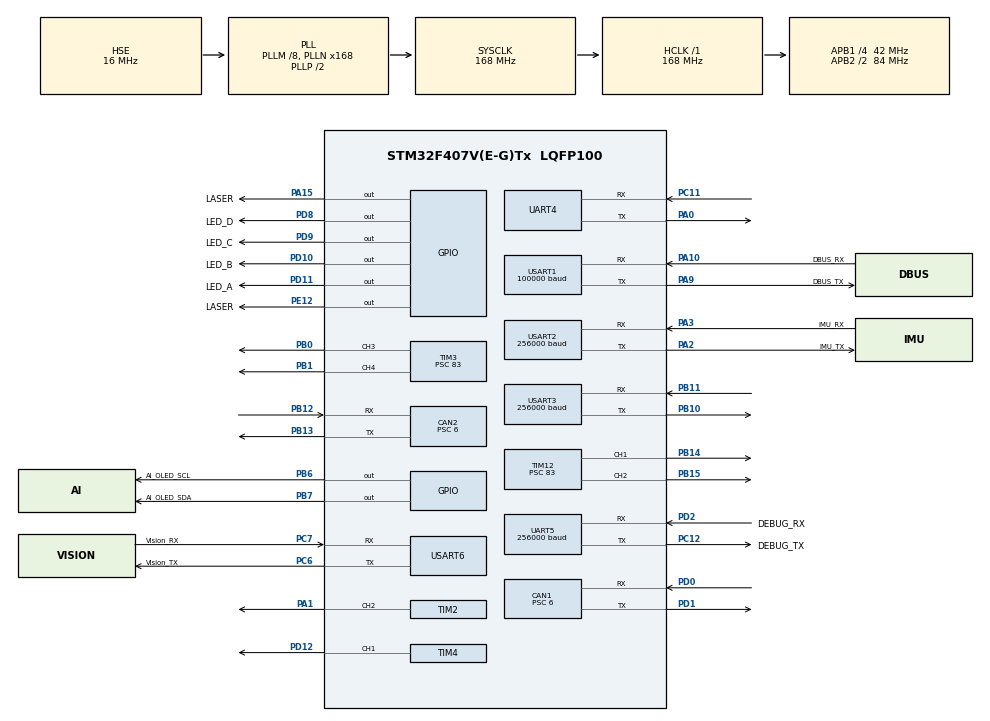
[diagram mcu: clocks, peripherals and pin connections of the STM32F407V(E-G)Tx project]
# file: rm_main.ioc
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CAN1.ABOM=ENABLE
CAN1.BS1=CAN_BS1_3TQ
CAN1.BS2=CAN_BS2_3TQ
CAN1.CalculateTimeQuantum=142.85714285714286
CAN1.Prescaler=6
CAN2.ABOM=ENABLE
CAN2.BS1=CAN_BS1_3TQ
CAN2.BS2=CAN_BS2_3TQ
CAN2.CalculateTimeQuantum=142.85714285714286
CAN2.Prescaler=6
Dma.Request0=USART2_RX
Dma.Request1=USART3_RX
Dma.Request10=USART6_TX
Dma.Request11=USART1_TX
Dma.Request2=USART3_TX
Dma.Request3=USART1_RX
Dma.Request4=USART6_RX
Dma.Request5=UART5_RX
Dma.Request6=UART5_TX
Dma.Request7=USART2_TX
Dma.Request8=UART4_RX
Dma.Request9=UART4_TX
Dma.UART4_RX.8.Direction=DMA_PERIPH_TO_MEMORY
Dma.UART4_RX.8.FIFOMode=DMA_FIFOMODE_DISABLE
Dma.UART4_RX.8.Instance=DMA1_Stream2
Dma.UART4_RX.8.MemDataAlignment=DMA_MDATAALIGN_BYTE
Dma.UART4_RX.8.MemInc=DMA_MINC_ENABLE
Dma.UART4_RX.8.Mode=DMA_NORMAL
Dma.UART4_RX.8.PeriphDataAlignment=DMA_PDATAALIGN_BYTE
Dma.UART4_RX.8.PeriphInc=DMA_PINC_DISABLE
Dma.UART4_RX.8.Priority=DMA_PRIORITY_LOW
Dma.UART4_TX.9.Direction=DMA_MEMORY_TO_PERIPH
Dma.UART4_TX.9.FIFOMode=DMA_FIFOMODE_DISABLE
Dma.UART4_TX.9.Instance=DMA1_Stream4
Dma.UART4_TX.9.MemDataAlignment=DMA_MDATAALIGN_BYTE
Dma.UART4_TX.9.MemInc=DMA_MINC_ENABLE
Dma.UART4_TX.9.Mode=DMA_NORMAL
Dma.UART4_TX.9.PeriphDataAlignment=DMA_PDATAALIGN_BYTE
Dma.UART4_TX.9.PeriphInc=DMA_PINC_DISABLE
Dma.UART4_TX.9.Priority=DMA_PRIORITY_LOW
Dma.UART5_RX.5.Direction=DMA_PERIPH_TO_MEMORY
Dma.UART5_RX.5.FIFOMode=DMA_FIFOMODE_DISABLE
Dma.UART5_RX.5.Instance=DMA1_Stream0
Dma.UART5_RX.5.MemDataAlignment=DMA_MDATAALIGN_BYTE
Dma.UART5_RX.5.MemInc=DMA_MINC_ENABLE
Dma.UART5_RX.5.Mode=DMA_NORMAL
Dma.UART5_RX.5.PeriphDataAlignment=DMA_PDATAALIGN_BYTE
Dma.UART5_RX.5.PeriphInc=DMA_PINC_DISABLE
Dma.UART5_RX.5.Priority=DMA_PRIORITY_LOW
Dma.UART5_TX.6.Direction=DMA_MEMORY_TO_PERIPH
Dma.UART5_TX.6.FIFOMode=DMA_FIFOMODE_DISABLE
Dma.UART5_TX.6.Instance=DMA1_Stream7
Dma.UART5_TX.6.MemDataAlignment=DMA_MDATAALIGN_BYTE
Dma.UART5_TX.6.MemInc=DMA_MINC_ENABLE
Dma.UART5_TX.6.Mode=DMA_NORMAL
Dma.UART5_TX.6.PeriphDataAlignment=DMA_PDATAALIGN_BYTE
Dma.UART5_TX.6.PeriphInc=DMA_PINC_DISABLE
Dma.UART5_TX.6.Priority=DMA_PRIORITY_LOW
Dma.USART1_RX.3.Direction=DMA_PERIPH_TO_MEMORY
Dma.USART1_RX.3.FIFOMode=DMA_FIFOMODE_DISABLE
Dma.USART1_RX.3.Instance=DMA2_Stream2
Dma.USART1_RX.3.MemDataAlignment=DMA_MDATAALIGN_BYTE
Dma.USART1_RX.3.MemInc=DMA_MINC_ENABLE
Dma.USART1_RX.3.Mode=DMA_NORMAL
Dma.USART1_RX.3.PeriphDataAlignment=DMA_PDATAALIGN_BYTE
Dma.USART1_RX.3.PeriphInc=DMA_PINC_DISABLE
Dma.USART1_RX.3.Priority=DMA_PRIORITY_LOW
Dma.USART1_TX.11.Direction=DMA_MEMORY_TO_PERIPH
Dma.USART1_TX.11.FIFOMode=DMA_FIFOMODE_DISABLE
Dma.USART1_TX.11.Instance=DMA2_Stream7
Dma.USART1_TX.11.MemDataAlignment=DMA_MDATAALIGN_BYTE
Dma.USART1_TX.11.MemInc=DMA_MINC_ENABLE
Dma.USART1_TX.11.Mode=DMA_NORMAL
Dma.USART1_TX.11.PeriphDataAlignment=DMA_PDATAALIGN_BYTE
Dma.USART1_TX.11.PeriphInc=DMA_PINC_DISABLE
Dma.USART1_TX.11.Priority=DMA_PRIORITY_LOW
Dma.USART2_RX.0.Direction=DMA_PERIPH_TO_MEMORY
Dma.USART2_RX.0.FIFOMode=DMA_FIFOMODE_DISABLE
Dma.USART2_RX.0.Instance=DMA1_Stream5
Dma.USART2_RX.0.MemDataAlignment=DMA_MDATAALIGN_BYTE
Dma.USART2_RX.0.MemInc=DMA_MINC_ENABLE
Dma.USART2_RX.0.Mode=DMA_NORMAL
Dma.USART2_RX.0.PeriphDataAlignment=DMA_PDATAALIGN_BYTE
Dma.USART2_RX.0.PeriphInc=DMA_PINC_DISABLE
Dma.USART2_RX.0.Priority=DMA_PRIORITY_LOW
Dma.USART2_TX.7.Direction=DMA_MEMORY_TO_PERIPH
Dma.USART2_TX.7.FIFOMode=DMA_FIFOMODE_DISABLE
Dma.USART2_TX.7.Instance=DMA1_Stream6
Dma.USART2_TX.7.MemDataAlignment=DMA_MDATAALIGN_BYTE
Dma.USART2_TX.7.MemInc=DMA_MINC_ENABLE
Dma.USART2_TX.7.Mode=DMA_NORMAL
Dma.USART2_TX.7.PeriphDataAlignment=DMA_PDATAALIGN_BYTE
Dma.USART2_TX.7.PeriphInc=DMA_PINC_DISABLE
Dma.USART2_TX.7.Priority=DMA_PRIORITY_LOW
Dma.USART3_RX.1.Direction=DMA_PERIPH_TO_MEMORY
Dma.USART3_RX.1.FIFOMode=DMA_FIFOMODE_DISABLE
Dma.USART3_RX.1.Instance=DMA1_Stream1
Dma.USART3_RX.1.MemDataAlignment=DMA_MDATAALIGN_BYTE
Dma.USART3_RX.1.MemInc=DMA_MINC_ENABLE
Dma.USART3_RX.1.Mode=DMA_NORMAL
Dma.USART3_RX.1.PeriphDataAlignment=DMA_PDATAALIGN_BYTE
Dma.USART3_RX.1.PeriphInc=DMA_PINC_DISABLE
Dma.USART3_RX.1.Priority=DMA_PRIORITY_LOW
Dma.USART3_TX.2.Direction=DMA_MEMORY_TO_PERIPH
Dma.USART3_TX.2.FIFOMode=DMA_FIFOMODE_DISABLE
Dma.USART3_TX.2.Instance=DMA1_Stream3
Dma.USART3_TX.2.MemDataAlignment=DMA_MDATAALIGN_BYTE
Dma.USART3_TX.2.MemInc=DMA_MINC_ENABLE
Dma.USART3_TX.2.Mode=DMA_NORMAL
Dma.USART3_TX.2.PeriphDataAlignment=DMA_PDATAALIGN_BYTE
Dma.USART3_TX.2.PeriphInc=DMA_PINC_DISABLE
Dma.USART3_TX.2.Priority=DMA_PRIORITY_LOW
Dma.USART6_RX.4.Direction=DMA_PERIPH_TO_MEMORY
Dma.USART6_RX.4.FIFOMode=DMA_FIFOMODE_DISABLE
Dma.USART6_RX.4.Instance=DMA2_Stream1
Dma.USART6_RX.4.MemDataAlignment=DMA_MDATAALIGN_BYTE
Dma.USART6_RX.4.MemInc=DMA_MINC_ENABLE
Dma.USART6_RX.4.Mode=DMA_NORMAL
Dma.USART6_RX.4.PeriphDataAlignment=DMA_PDATAALIGN_BYTE
Dma.USART6_RX.4.PeriphInc=DMA_PINC_DISABLE
Dma.USART6_RX.4.Priority=DMA_PRIORITY_VERY_HIGH
Dma.USART6_TX.10.Direction=DMA_MEMORY_TO_PERIPH
Dma.USART6_TX.10.FIFOMode=DMA_FIFOMODE_DISABLE
Dma.USART6_TX.10.Instance=DMA2_Stream6
Dma.USART6_TX.10.MemDataAlignment=DMA_MDATAALIGN_BYTE
Dma.USART6_TX.10.MemInc=DMA_MINC_ENABLE
Dma.USART6_TX.10.Mode=DMA_CIRCULAR
Dma.USART6_TX.10.PeriphDataAlignment=DMA_PDATAALIGN_BYTE
Dma.USART6_TX.10.PeriphInc=DMA_PINC_DISABLE
Dma.USART6_TX.10.Priority=DMA_PRIORITY_VERY_HIGH
FREERTOS.INCLUDE_vTaskDelayUntil=1
FREERTOS.Tasks01=defaultTask,0,128,StartDefaultTask,Default,NULL
FREERTOS.configUSE_TIMERS=1
Mcu.Family=STM32F4
Mcu.Name=STM32F407V(E-G)Tx
Mcu.Package=LQFP100
NVIC.CAN1_RX0_IRQn=true\:5\:0\:false\:false\:true\:true\:true\:true
NVIC.CAN1_RX1_IRQn=true\:5\:0\:false\:false\:true\:true\:true\:true
NVIC.CAN1_SCE_IRQn=true\:5\:0\:false\:false\:true\:true\:true\:true
NVIC.CAN1_TX_IRQn=true\:5\:0\:false\:false\:true\:true\:true\:true
NVIC.CAN2_RX0_IRQn=true\:5\:0\:false\:false\:true\:true\:true\:true
NVIC.CAN2_RX1_IRQn=true\:5\:0\:false\:false\:true\:true\:true\:true
NVIC.CAN2_SCE_IRQn=true\:5\:0\:false\:false\:true\:true\:true\:true
NVIC.CAN2_TX_IRQn=true\:5\:0\:false\:false\:true\:true\:true\:true
NVIC.DMA1_Stream0_IRQn=true\:5\:0\:false\:false\:true\:true\:false\:true
NVIC.DMA1_Stream1_IRQn=true\:5\:0\:false\:false\:true\:true\:false\:true
NVIC.DMA1_Stream2_IRQn=true\:5\:0\:false\:false\:true\:true\:false\:true
NVIC.DMA1_Stream3_IRQn=true\:5\:0\:false\:false\:true\:true\:false\:true
NVIC.DMA1_Stream4_IRQn=true\:5\:0\:false\:false\:true\:true\:false\:true
NVIC.DMA1_Stream5_IRQn=true\:5\:0\:false\:false\:true\:true\:false\:true
NVIC.DMA1_Stream6_IRQn=true\:5\:0\:false\:false\:true\:true\:false\:true
NVIC.DMA1_Stream7_IRQn=true\:5\:0\:false\:false\:true\:true\:false\:true
NVIC.DMA2_Stream1_IRQn=true\:5\:0\:false\:false\:true\:true\:false\:true
NVIC.DMA2_Stream2_IRQn=true\:5\:0\:false\:false\:true\:true\:false\:true
NVIC.DMA2_Stream6_IRQn=true\:5\:0\:false\:false\:true\:true\:false\:true
NVIC.DMA2_Stream7_IRQn=true\:5\:0\:false\:false\:true\:true\:false\:true
NVIC.PriorityGroup=NVIC_PRIORITYGROUP_4
NVIC.TIM1_UP_TIM10_IRQn=true\:0\:0\:false\:false\:true\:false\:false\:true
NVIC.TimeBase=TIM1_UP_TIM10_IRQn
NVIC.TimeBaseIP=TIM10
NVIC.UART4_IRQn=true\:5\:0\:false\:false\:true\:true\:true\:true
NVIC.UART5_IRQn=true\:5\:0\:false\:false\:true\:true\:true\:true
NVIC.USART1_IRQn=true\:5\:0\:false\:false\:true\:true\:true\:true
NVIC.USART2_IRQn=true\:5\:0\:false\:false\:true\:true\:true\:true
NVIC.USART3_IRQn=true\:5\:0\:false\:false\:true\:true\:true\:true
NVIC.USART6_IRQn=true\:5\:0\:false\:false\:true\:true\:true\:true
PA0-WKUP.Mode=Asynchronous
PA0-WKUP.Signal=UART4_TX
PA1.Signal=S_TIM2_CH2
PA10.GPIO_Label=DBUS_RX
PA10.Mode=Asynchronous
PA10.Signal=USART1_RX
PA13.Mode=Serial_Wire
PA13.Signal=SYS_JTMS-SWDIO
PA14.Mode=Serial_Wire
PA14.Signal=SYS_JTCK-SWCLK
PA15.GPIO_Label=LASER
PA15.Signal=GPIO_Output
PA2.GPIO_Label=IMU_TX
PA2.Mode=Asynchronous
PA2.Signal=USART2_TX
PA3.GPIO_Label=IMU_RX
PA3.Mode=Asynchronous
PA3.Signal=USART2_RX
PA9.GPIO_Label=DBUS_TX
PA9.Mode=Asynchronous
PA9.Signal=USART1_TX
PB0.Signal=S_TIM3_CH3
PB1.Signal=S_TIM3_CH4
PB10.Mode=Asynchronous
PB10.Signal=USART3_TX
PB11.Mode=Asynchronous
PB11.Signal=USART3_RX
PB12.Mode=Slave
PB12.Signal=CAN2_RX
PB13.Mode=Slave
PB13.Signal=CAN2_TX
PB14.Signal=S_TIM12_CH1
PB15.Signal=S_TIM12_CH2
PB6.GPIO_Label=AI_OLED_SCL
PB6.Signal=GPIO_Output
PB7.GPIO_Label=AI_OLED_SDA
PB7.Signal=GPIO_Output
PC11.Mode=Asynchronous
PC11.Signal=UART4_RX
PC12.GPIO_Label=DEBUG_TX
PC12.Mode=Asynchronous
PC12.Signal=UART5_TX
PC6.GPIO_Label=Vision_TX
PC6.Mode=Asynchronous
PC6.Signal=USART6_TX
PC7.GPIO_Label=Vision_RX
PC7.Mode=Asynchronous
PC7.Signal=USART6_RX
PD0.Mode=Master
PD0.Signal=CAN1_RX
PD1.Mode=Master
PD1.Signal=CAN1_TX
PD10.GPIO_Label=LED_B
PD10.Signal=GPIO_Output
PD11.GPIO_Label=LED_A
PD11.Signal=GPIO_Output
PD12.Signal=S_TIM4_CH1
PD2.GPIO_Label=DEBUG_RX
PD2.Mode=Asynchronous
PD2.Signal=UART5_RX
PD8.GPIO_Label=LED_D
PD8.Signal=GPIO_Output
PD9.GPIO_Label=LED_C
PD9.Signal=GPIO_Output
PE12.GPIO_Label=LASER
PE12.Signal=GPIO_Output
PH0-OSC_IN.Mode=HSE-External-Oscillator
PH0-OSC_IN.Signal=RCC_OSC_IN
PH1-OSC_OUT.Mode=HSE-External-Oscillator
PH1-OSC_OUT.Signal=RCC_OSC_OUT
ProjectManager.HeapSize=0x1000
ProjectManager.StackSize=0x600
ProjectManager.TargetToolchain=MDK-ARM V5
RCC.48MHZClocksFreq_Value=84000000
RCC.AHBFreq_Value=168000000
RCC.APB1CLKDivider=RCC_HCLK_DIV4
RCC.APB1Freq_Value=42000000
RCC.APB1TimFreq_Value=84000000
RCC.APB2CLKDivider=RCC_HCLK_DIV2
RCC.APB2Freq_Value=84000000
RCC.APB2TimFreq_Value=168000000
RCC.CortexFreq_Value=168000000
RCC.HCLKFreq_Value=168000000
RCC.HSE_VALUE=16000000
RCC.HSI_VALUE=16000000
RCC.LSE_VALUE=32768
RCC.PLLM=8
RCC.PLLN=168
RCC.PLLSourceVirtual=RCC_PLLSOURCE_HSE
RCC.SYSCLKFreq_VALUE=168000000
RCC.SYSCLKSource=RCC_SYSCLKSOURCE_PLLCLK
RCC.VCOOutputFreq_Value=336000000
SH.S_TIM12_CH1.0=TIM12_CH1,PWM Generation1 CH1
SH.S_TIM12_CH2.0=TIM12_CH2,PWM Generation2 CH2
SH.S_TIM2_CH2.0=TIM2_CH2,PWM Generation2 CH2
SH.S_TIM3_CH3.0=TIM3_CH3,PWM Generation3 CH3
SH.S_TIM3_CH4.0=TIM3_CH4,PWM Generation4 CH4
SH.S_TIM4_CH1.0=TIM4_CH1,PWM Generation1 CH1
TIM12.Channel-PWM\ Generation1\ CH1=TIM_CHANNEL_1
TIM12.Channel-PWM\ Generation2\ CH2=TIM_CHANNEL_2
TIM12.Period=19999
TIM12.Prescaler=83
TIM13.Period=19999
TIM13.Prescaler=83
TIM2.Channel-PWM\ Generation2\ CH2=TIM_CHANNEL_2
TIM2.Period=19999
TIM2.Prescaler=83
TIM3.Channel-PWM\ Generation3\ CH3=TIM_CHANNEL_3
TIM3.Channel-PWM\ Generation4\ CH4=TIM_CHANNEL_4
TIM3.Period=19999
TIM3.Prescaler=83
TIM3.Pulse-PWM\ Generation3\ CH3=800
TIM3.Pulse-PWM\ Generation4\ CH4=800
TIM4.Channel-PWM\ Generation1\ CH1=TIM_CHANNEL_1
TIM4.Period=19999
TIM4.Prescaler=83
TIM4.Pulse-PWM\ Generation1\ CH1=800
UART4.VirtualMode=Asynchronous
UART5.BaudRate=256000
UART5.VirtualMode=Asynchronous
USART1.BaudRate=100000
USART1.Parity=PARITY_EVEN
USART1.VirtualMode=VM_ASYNC
USART2.BaudRate=256000
USART2.VirtualMode=VM_ASYNC
USART3.BaudRate=256000
USART3.VirtualMode=VM_ASYNC
USART6.VirtualMode=VM_ASYNC
VP_FREERTOS_VS_CMSIS_V1.Mode=CMSIS_V1
VP_SYS_VS_tim10.Mode=TIM10
VP_TIM13_VS_ClockSourceINT.Mode=Enable_Timer
board=custom

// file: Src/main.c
/* USER CODE BEGIN Header */
/**
  ******************************************************************************
  * @file           : main.c
  * @brief          : Main program body
  ******************************************************************************
  * @attention
  *
  * <h2><center>&copy; Copyright (c) 2019 STMicroelectronics.
  * All rights reserved.</center></h2>
  *
  * This software component is licensed by ST under Ultimate Liberty license
  * SLA0044, the "License"; You may not use this file except in compliance with
  * the License. You may obtain a copy of the License at:
  *                             www.st.com/SLA0044
  *
  ******************************************************************************
  */
/* USER CODE END Header */

#include "main.h"
#include "cmsis_os.h"
#include "can.h"
#include "dma.h"
#include "tim.h"
#include "usart.h"
#include "gpio.h"

/* USER CODE BEGIN Includes */
#include "bsp_can.h"
#include "chassis_task.h"
#include "gimbal_task.h"
#include "status_task.h"
#include "shoot_task.h"
#include "modeswitch_task.h"
#include "visionfire_task.h"
#include "bsp_powerlimit.h"
#include "bsp_usart.h"
#include "vision_task.h"
/* USER CODE END Includes */

void SystemClock_Config(void);
void MX_FREERTOS_Init(void);

int main(void)
{

  /* MCU Configuration--------------------------------------------------------*/

  /* Reset of all peripherals, Initializes the Flash interface and the Systick. */
  HAL_Init();

  /* Configure the system clock */
  SystemClock_Config();

  /* Initialize all configured peripherals */
  MX_GPIO_Init();
  MX_DMA_Init();
  MX_CAN1_Init();
  MX_CAN2_Init();
  MX_TIM2_Init();
  MX_TIM3_Init();
  MX_TIM13_Init();
  MX_UART5_Init();
  MX_USART1_UART_Init();
  MX_USART2_UART_Init();
  MX_USART3_UART_Init();
  MX_USART6_UART_Init();
  MX_TIM12_Init();
  MX_UART4_Init();
  MX_TIM4_Init();
  /* USER CODE BEGIN 2 */
	status_init();
	HAL_Delay(1500);
	can_device_init();
	chassis_init();
	shoot_init();
	gimbal_param_init();
	PowerControl_Init();
	Kalman_init();
	USER_UART_Init();
  /* USER CODE END 2 */

  /* Call init function for freertos objects (in freertos.c) */
  MX_FREERTOS_Init();

  /* Start scheduler */
  osKernelStart();

  /* We should never get here as control is now taken by the scheduler */

  /* Infinite loop */
  while (1)
  {

  }
}

void SystemClock_Config(void)
{
  RCC_OscInitTypeDef RCC_OscInitStruct = {0};
  RCC_ClkInitTypeDef RCC_ClkInitStruct = {0};

  /** Configure the main internal regulator output voltage
  */
  __HAL_RCC_PWR_CLK_ENABLE();
  __HAL_PWR_VOLTAGESCALING_CONFIG(PWR_REGULATOR_VOLTAGE_SCALE1);
  /** Initializes the CPU, AHB and APB busses clocks
  */
  RCC_OscInitStruct.OscillatorType = RCC_OSCILLATORTYPE_HSE;
  RCC_OscInitStruct.HSEState = RCC_HSE_ON;
  RCC_OscInitStruct.PLL.PLLState = RCC_PLL_ON;
  RCC_OscInitStruct.PLL.PLLSource = RCC_PLLSOURCE_HSE;
  RCC_OscInitStruct.PLL.PLLM = 8;
  RCC_OscInitStruct.PLL.PLLN = 168;
  RCC_OscInitStruct.PLL.PLLP = RCC_PLLP_DIV2;
  RCC_OscInitStruct.PLL.PLLQ = 4;
  if (HAL_RCC_OscConfig(&RCC_OscInitStruct) != HAL_OK)
  {
    Error_Handler();
  }
  /** Initializes the CPU, AHB and APB busses clocks
  */
  RCC_ClkInitStruct.ClockType = RCC_CLOCKTYPE_HCLK|RCC_CLOCKTYPE_SYSCLK
                              |RCC_CLOCKTYPE_PCLK1|RCC_CLOCKTYPE_PCLK2;
  RCC_ClkInitStruct.SYSCLKSource = RCC_SYSCLKSOURCE_PLLCLK;
  RCC_ClkInitStruct.AHBCLKDivider = RCC_SYSCLK_DIV1;
  RCC_ClkInitStruct.APB1CLKDivider = RCC_HCLK_DIV4;
  RCC_ClkInitStruct.APB2CLKDivider = RCC_HCLK_DIV2;

  if (HAL_RCC_ClockConfig(&RCC_ClkInitStruct, FLASH_LATENCY_5) != HAL_OK)
  {
    Error_Handler();
  }
}

void HAL_TIM_PeriodElapsedCallback(TIM_HandleTypeDef *htim)
{
  if (htim->Instance == TIM10) {
    HAL_IncTick();
  }
}

void Error_Handler(void)
{
}

/************************ (C) COPYRIGHT STMicroelectronics *****END OF FILE****/

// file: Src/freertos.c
/* USER CODE BEGIN Header */
/**
  ******************************************************************************
  * File Name          : freertos.c
  * Description        : Code for freertos applications
  ******************************************************************************
  * @attention
  *
  * <h2><center>&copy; Copyright (c) 2019 STMicroelectronics.
  * All rights reserved.</center></h2>
  *
  * This software component is licensed by ST under Ultimate Liberty license
  * SLA0044, the "License"; You may not use this file except in compliance with
  * the License. You may obtain a copy of the License at:
  *                             www.st.com/SLA0044
  *
  ******************************************************************************
  */
/* USER CODE END Header */

#include "FreeRTOS.h"
#include "task.h"
#include "main.h"
#include "cmsis_os.h"

/* USER CODE BEGIN Includes */
#include "stm32f4xx_hal.h"
#include "comm_task.h"
#include "chassis_task.h"
#include "modeswitch_task.h"
#include "gimbal_task.h"
#include "shoot_task.h"
#include "status_task.h"
#include "referee.h"
#include "protocol.h"
/* USER CODE END Includes */

/* USER CODE BEGIN Variables */
osThreadId can_msg_send_task_t;
osThreadId chassis_task_t;
osThreadId gimbal_task_t;
osThreadId mode_sw_task_t;
osThreadId shoot_task_t;
osTimerId judge_sendTimer_id;

osThreadId referee_task_t;
osThreadId chassis_odom_send_task_t;
/* USER CODE END Variables */
osThreadId defaultTaskHandle;

void StartDefaultTask(void const * argument);

void MX_FREERTOS_Init(void); /* (MISRA C 2004 rule 8.1) */

/* GetIdleTaskMemory prototype (linked to static allocation support) */
void vApplicationGetIdleTaskMemory( StaticTask_t **ppxIdleTaskTCBBuffer, StackType_t **ppxIdleTaskStackBuffer, uint32_t *pulIdleTaskStackSize );

/* GetTimerTaskMemory prototype (linked to static allocation support) */
void vApplicationGetTimerTaskMemory( StaticTask_t **ppxTimerTaskTCBBuffer, StackType_t **ppxTimerTaskStackBuffer, uint32_t *pulTimerTaskStackSize );

/* USER CODE BEGIN GET_IDLE_TASK_MEMORY */
static StaticTask_t xIdleTaskTCBBuffer;
static StackType_t xIdleStack[configMINIMAL_STACK_SIZE];

void vApplicationGetIdleTaskMemory( StaticTask_t **ppxIdleTaskTCBBuffer, StackType_t **ppxIdleTaskStackBuffer, uint32_t *pulIdleTaskStackSize )
{
  *ppxIdleTaskTCBBuffer = &xIdleTaskTCBBuffer;
  *ppxIdleTaskStackBuffer = &xIdleStack[0];
  *pulIdleTaskStackSize = configMINIMAL_STACK_SIZE;
  /* place for user code */
}
/* USER CODE END GET_IDLE_TASK_MEMORY */

/* USER CODE BEGIN GET_TIMER_TASK_MEMORY */
static StaticTask_t xTimerTaskTCBBuffer;
static StackType_t xTimerStack[configTIMER_TASK_STACK_DEPTH];

void vApplicationGetTimerTaskMemory( StaticTask_t **ppxTimerTaskTCBBuffer, StackType_t **ppxTimerTaskStackBuffer, uint32_t *pulTimerTaskStackSize )
{
  *ppxTimerTaskTCBBuffer = &xTimerTaskTCBBuffer;
  *ppxTimerTaskStackBuffer = &xTimerStack[0];
  *pulTimerTaskStackSize = configTIMER_TASK_STACK_DEPTH;
  /* place for user code */
}
/* USER CODE END GET_TIMER_TASK_MEMORY */

void MX_FREERTOS_Init(void) {

  /* USER CODE BEGIN RTOS_TIMERS */
  /* start timers, add new ones, ... */
	taskENTER_CRITICAL();

  /* USER CODE END RTOS_TIMERS */

  /* Create the thread(s) */
  /* definition and creation of defaultTask */
  osThreadDef(defaultTask, StartDefaultTask, osPriorityNormal, 0, 128);
  defaultTaskHandle = osThreadCreate(osThread(defaultTask), NULL);

  /* USER CODE BEGIN RTOS_THREADS */
  /* add threads, ... */
			/* high priority task */

	osThreadDef(canTask, can_msg_send_task, osPriorityHigh, 0, 512);
  can_msg_send_task_t = osThreadCreate(osThread(canTask), NULL);

	osThreadDef(chassisTask, chassis_task, osPriorityAboveNormal, 0, 256);
	chassis_task_t = osThreadCreate(osThread(chassisTask),NULL);

	osThreadDef(gimbalTask, gimbal_task, osPriorityAboveNormal, 0, 512);
	gimbal_task_t = osThreadCreate(osThread(gimbalTask),NULL);

	osThreadDef(shootTask, shoot_task, osPriorityAboveNormal, 0, 256);
	shoot_task_t = osThreadCreate(osThread(shootTask),NULL);

	osThreadDef(modeswTask, mode_switch_task, osPriorityNormal, 0, 128);
	mode_sw_task_t = osThreadCreate(osThread(modeswTask),NULL);

	osThreadDef(refereeTask, referee_task, osPriorityHigh, 0, 512);
	referee_task_t = osThreadCreate(osThread(refereeTask),NULL);

	osThreadDef(chassisodomsendTask, chassis_odom_send_task ,osPriorityHigh,0,512);
	chassis_odom_send_task_t = osThreadCreate(osThread(chassisodomsendTask),NULL);
	 	 /* low priority task */

	taskEXIT_CRITICAL();
  /* USER CODE END RTOS_THREADS */

}

void StartDefaultTask(void const * argument)
{

  /* USER CODE BEGIN StartDefaultTask */
  /* Infinite loop */
  for(;;)
  {
    osDelay(100);
  }
  /* USER CODE END StartDefaultTask */
}

/************************ (C) COPYRIGHT STMicroelectronics *****END OF FILE****/
